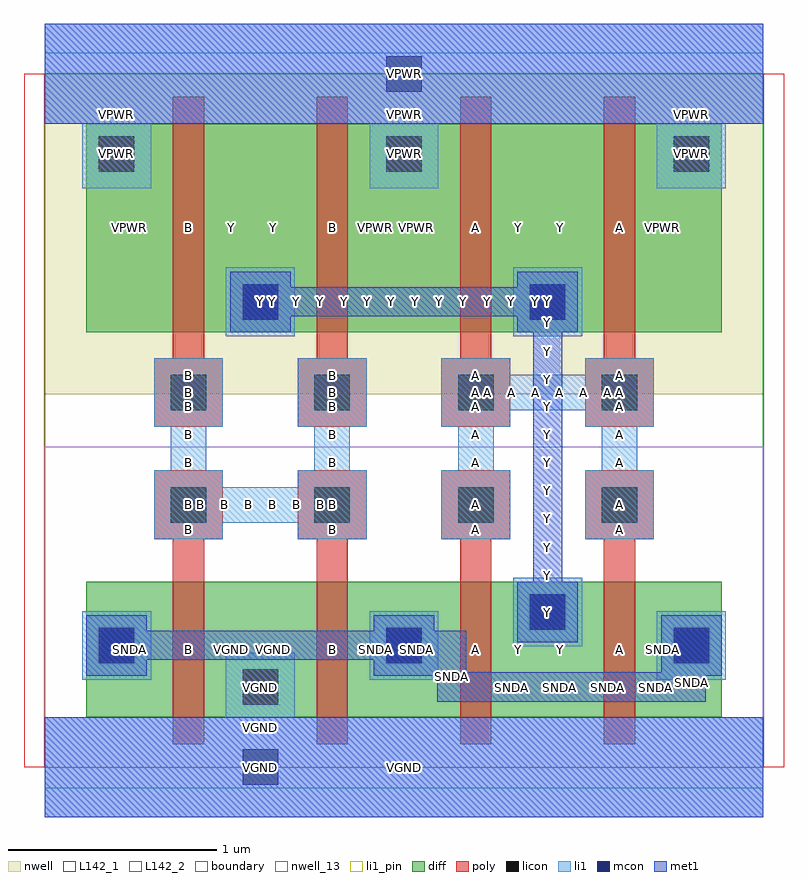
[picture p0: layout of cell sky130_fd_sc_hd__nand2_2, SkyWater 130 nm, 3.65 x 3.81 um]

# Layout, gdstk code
import gdstk
lib = gdstk.Library(unit=1e-6, precision=1e-09)
def R(c, l, rs):  # rectangles x0, y0, x1, y1
    for r in rs: c.add(gdstk.rectangle(r[:2], r[2:], *l))
def A(c, l, x, y, w, h, nx, ny, dx, dy):  # array of equal rectangles
    R(c, l, [(x+i*dx, y+j*dy, x+i*dx+w, y+j*dy+h) for i in range(nx) for j in range(ny)])
def P(c, l, *ps):  # polygons
    for p in ps: c.add(gdstk.Polygon(p, *l))
nwell_13 = (64, 13)
nwell = (64, 20)
diff = (65, 20)
poly = (66, 20)
licon = (66, 44)
li1_pin = (67, 16)
li1 = (67, 20)
mcon = (67, 44)
met1 = (68, 20)
L142_1 = (142, 1)
L142_2 = (142, 2)
boundary = (235, 4)

sky130_fd_sc_hd__nand2_2 = lib.new_cell('sky130_fd_sc_hd__nand2_2')
R(sky130_fd_sc_hd__nand2_2, nwell_13, [(0,0,3.45,1.54)])
R(sky130_fd_sc_hd__nand2_2, nwell, [(0,1.79,3.45,3.33)])
A(sky130_fd_sc_hd__nand2_2, diff, 0.615, 0.24, 0.69, 0.65, 3, 1, 0.69, 0)
A(sky130_fd_sc_hd__nand2_2, diff, 0.615, 2.09, 0.69, 1, 3, 1, 0.69, 0)
R(sky130_fd_sc_hd__nand2_2, diff, [(0.2,0.24,3.25,0.89), (0.2,0.24,0.615,0.89), (2.685,0.24,3.25,0.89), (0.2,2.09,3.25,3.09), (0.2,2.09,0.615,3.09), (2.685,2.09,3.25,3.09)])
P(sky130_fd_sc_hd__nand2_2, poly, [(0.615,0.11),(0.615,1.095),(0.525,1.095),(0.525,1.425),(0.855,1.425),(0.855,1.095),(0.765,1.095),(0.765,0.11)],
  [(1.305,0.11),(1.305,1.095),(1.215,1.095),(1.215,1.425),(1.545,1.425),(1.545,1.095),(1.455,1.095),(1.455,0.11)],
  [(0.525,1.635),(0.525,1.965),(0.615,1.965),(0.615,3.22),(0.765,3.22),(0.765,1.965),(0.855,1.965),(0.855,1.635)],
  [(1.215,1.635),(1.215,1.965),(1.305,1.965),(1.305,3.22),(1.455,3.22),(1.455,1.965),(1.545,1.965),(1.545,1.635)],
  [(1.995,0.11),(1.995,1.095),(1.905,1.095),(1.905,1.425),(2.235,1.425),(2.235,1.095),(2.145,1.095),(2.145,0.11)],
  [(2.685,0.11),(2.685,1.095),(2.595,1.095),(2.595,1.425),(2.925,1.425),(2.925,1.095),(2.835,1.095),(2.835,0.11)],
  [(1.905,1.635),(1.905,1.965),(1.995,1.965),(1.995,3.22),(2.145,3.22),(2.145,1.965),(2.235,1.965),(2.235,1.635)],
  [(2.595,1.635),(2.595,1.965),(2.685,1.965),(2.685,3.22),(2.835,3.22),(2.835,1.965),(2.925,1.965),(2.925,1.635)])
A(sky130_fd_sc_hd__nand2_2, licon, 0.26, 0.5, 0.17, 0.17, 3, 2, 1.38, 2.36)
A(sky130_fd_sc_hd__nand2_2, licon, 0.605, 1.175, 0.17, 0.17, 4, 2, 0.69, 0.54)
R(sky130_fd_sc_hd__nand2_2, licon, [(0.95,0.3,1.12,0.47), (2.33,0.66,2.5,0.83), (0.95,2.15,1.12,2.32), (2.33,2.15,2.5,2.32)])
R(sky130_fd_sc_hd__nand2_2, li1_pin, [(0,-0.24,3.45,0.24), (0.87,2.07,1.2,2.4), (0,3.09,3.45,3.57)])
P(sky130_fd_sc_hd__nand2_2, li1_pin, [(0.525,1.095),(0.525,1.425),(0.605,1.425),(0.605,1.635),(0.525,1.635),(0.525,1.965),(0.855,1.965),(0.855,1.635),(0.775,1.635),(0.775,1.425),(0.855,1.425),(0.855,1.345),(1.215,1.345),(1.215,1.425),(1.295,1.425),(1.295,1.635),(1.215,1.635),(1.215,1.965),(1.545,1.965),(1.545,1.635),(1.465,1.635),(1.465,1.425),(1.545,1.425),(1.545,1.095),(1.215,1.095),(1.215,1.175),(0.855,1.175),(0.855,1.095)],
  [(1.905,1.095),(1.905,1.425),(1.985,1.425),(1.985,1.635),(1.905,1.635),(1.905,1.965),(2.235,1.965),(2.235,1.885),(2.595,1.885),(2.595,1.965),(2.925,1.965),(2.925,1.635),(2.845,1.635),(2.845,1.425),(2.925,1.425),(2.925,1.095),(2.595,1.095),(2.595,1.425),(2.675,1.425),(2.675,1.635),(2.595,1.635),(2.595,1.715),(2.235,1.715),(2.235,1.635),(2.155,1.635),(2.155,1.425),(2.235,1.425),(2.235,1.095)])
A(sky130_fd_sc_hd__nand2_2, li1, 0.18, 0.42, 0.33, 0.33, 3, 1, 1.38, 0)
R(sky130_fd_sc_hd__nand2_2, li1, [(2.25,0.58,2.58,0.91), (0.87,2.07,1.2,2.4), (2.25,2.07,2.58,2.4)])
P(sky130_fd_sc_hd__nand2_2, li1, [(0.525,1.095),(0.525,1.425),(0.605,1.425),(0.605,1.635),(0.525,1.635),(0.525,1.965),(0.855,1.965),(0.855,1.635),(0.775,1.635),(0.775,1.425),(0.855,1.425),(0.855,1.345),(1.215,1.345),(1.215,1.425),(1.295,1.425),(1.295,1.635),(1.215,1.635),(1.215,1.965),(1.545,1.965),(1.545,1.635),(1.465,1.635),(1.465,1.425),(1.545,1.425),(1.545,1.095),(1.215,1.095),(1.215,1.175),(0.855,1.175),(0.855,1.095)],
  [(0.18,2.78),(0.18,3.09),(0,3.09),(0,3.57),(3.45,3.57),(3.45,3.09),(3.27,3.09),(3.27,2.78),(2.94,2.78),(2.94,3.09),(1.89,3.09),(1.89,2.78),(1.56,2.78),(1.56,3.09),(0.51,3.09),(0.51,2.78)],
  [(0,-0.24),(0,0.24),(0.87,0.24),(0.87,0.55),(1.2,0.55),(1.2,0.24),(3.45,0.24),(3.45,-0.24)],
  [(1.905,1.095),(1.905,1.425),(1.985,1.425),(1.985,1.635),(1.905,1.635),(1.905,1.965),(2.235,1.965),(2.235,1.885),(2.595,1.885),(2.595,1.965),(2.925,1.965),(2.925,1.635),(2.845,1.635),(2.845,1.425),(2.925,1.425),(2.925,1.095),(2.595,1.095),(2.595,1.425),(2.675,1.425),(2.675,1.635),(2.595,1.635),(2.595,1.715),(2.235,1.715),(2.235,1.635),(2.155,1.635),(2.155,1.425),(2.235,1.425),(2.235,1.095)])
A(sky130_fd_sc_hd__nand2_2, mcon, 0.26, 0.5, 0.17, 0.17, 3, 1, 1.38, 0)
R(sky130_fd_sc_hd__nand2_2, mcon, [(0.95,-0.085,1.12,0.085), (2.33,0.66,2.5,0.83), (0.95,2.15,1.12,2.32), (2.33,2.15,2.5,2.32), (1.64,3.245,1.81,3.415)])
R(sky130_fd_sc_hd__nand2_2, met1, [(0,-0.24,3.45,0.24), (1.87,0.44,1.885,0.515), (0,3.09,3.45,3.57)])
P(sky130_fd_sc_hd__nand2_2, met1, [(2.27,0.6),(2.27,0.89),(2.345,0.89),(2.345,2.09),(2.27,2.09),(2.27,2.165),(1.18,2.165),(1.18,2.09),(0.89,2.09),(0.89,2.38),(1.18,2.38),(1.18,2.305),(2.27,2.305),(2.27,2.38),(2.56,2.38),(2.56,2.09),(2.485,2.09),(2.485,0.89),(2.56,0.89),(2.56,0.6)],
  [(1.885,0.315),(1.885,0.515),(1.87,0.515),(1.87,0.44),(1.58,0.44),(1.58,0.515),(0.49,0.515),(0.49,0.44),(0.2,0.44),(0.2,0.73),(0.49,0.73),(0.49,0.655),(1.58,0.655),(1.58,0.73),(1.87,0.73),(1.87,0.655),(2.025,0.655),(2.025,0.455),(2.96,0.455),(2.96,0.73),(3.25,0.73),(3.25,0.44),(3.175,0.44),(3.175,0.315)])
R(sky130_fd_sc_hd__nand2_2, L142_1, [(0,-0.1,3.45,0), (0,3.33,3.45,3.43)])
R(sky130_fd_sc_hd__nand2_2, L142_2, [(-0.1,0,0,3.33), (3.45,0,3.55,3.33)])
R(sky130_fd_sc_hd__nand2_2, boundary, [(0,0,3.45,3.33)])
sky130_fd_sc_hd__nand2_2.add(gdstk.Label('VGND', (1.097,0.565), layer=65, texttype=20))
sky130_fd_sc_hd__nand2_2.add(gdstk.Label('SNDA', (1.587,0.565), layer=65, texttype=20))
sky130_fd_sc_hd__nand2_2.add(gdstk.Label('Y', (2.477,0.565), layer=65, texttype=20))
sky130_fd_sc_hd__nand2_2.add(gdstk.Label('SNDA', (2.967,0.565), layer=65, texttype=20))
sky130_fd_sc_hd__nand2_2.add(gdstk.Label('SNDA', (1.787,0.565), layer=65, texttype=20))
sky130_fd_sc_hd__nand2_2.add(gdstk.Label('Y', (2.277,0.565), layer=65, texttype=20))
sky130_fd_sc_hd__nand2_2.add(gdstk.Label('SNDA', (0.407,0.565), layer=65, texttype=20))
sky130_fd_sc_hd__nand2_2.add(gdstk.Label('VGND', (0.897,0.565), layer=65, texttype=20))
sky130_fd_sc_hd__nand2_2.add(gdstk.Label('VGND', (1.097,0.565), layer=65, texttype=20))
sky130_fd_sc_hd__nand2_2.add(gdstk.Label('SNDA', (1.587,0.565), layer=65, texttype=20))
sky130_fd_sc_hd__nand2_2.add(gdstk.Label('Y', (2.477,0.565), layer=65, texttype=20))
sky130_fd_sc_hd__nand2_2.add(gdstk.Label('SNDA', (2.967,0.565), layer=65, texttype=20))
sky130_fd_sc_hd__nand2_2.add(gdstk.Label('SNDA', (1.787,0.565), layer=65, texttype=20))
sky130_fd_sc_hd__nand2_2.add(gdstk.Label('Y', (2.277,0.565), layer=65, texttype=20))
sky130_fd_sc_hd__nand2_2.add(gdstk.Label('SNDA', (0.407,0.565), layer=65, texttype=20))
sky130_fd_sc_hd__nand2_2.add(gdstk.Label('VGND', (0.897,0.565), layer=65, texttype=20))
sky130_fd_sc_hd__nand2_2.add(gdstk.Label('VGND', (1.035,0.385), layer=65, texttype=20))
sky130_fd_sc_hd__nand2_2.add(gdstk.Label('SNDA', (1.725,0.585), layer=65, texttype=20))
sky130_fd_sc_hd__nand2_2.add(gdstk.Label('SNDA', (0.345,0.585), layer=65, texttype=20))
sky130_fd_sc_hd__nand2_2.add(gdstk.Label('SNDA', (3.105,0.585), layer=65, texttype=20))
sky130_fd_sc_hd__nand2_2.add(gdstk.Label('Y', (2.415,0.745), layer=65, texttype=20))
sky130_fd_sc_hd__nand2_2.add(gdstk.Label('Y', (1.097,2.59), layer=65, texttype=20))
sky130_fd_sc_hd__nand2_2.add(gdstk.Label('VPWR', (1.587,2.59), layer=65, texttype=20))
sky130_fd_sc_hd__nand2_2.add(gdstk.Label('VPWR', (0.407,2.59), layer=65, texttype=20))
sky130_fd_sc_hd__nand2_2.add(gdstk.Label('Y', (0.897,2.59), layer=65, texttype=20))
sky130_fd_sc_hd__nand2_2.add(gdstk.Label('VPWR', (1.787,2.59), layer=65, texttype=20))
sky130_fd_sc_hd__nand2_2.add(gdstk.Label('Y', (2.277,2.59), layer=65, texttype=20))
sky130_fd_sc_hd__nand2_2.add(gdstk.Label('Y', (2.477,2.59), layer=65, texttype=20))
sky130_fd_sc_hd__nand2_2.add(gdstk.Label('VPWR', (2.967,2.59), layer=65, texttype=20))
sky130_fd_sc_hd__nand2_2.add(gdstk.Label('Y', (1.097,2.59), layer=65, texttype=20))
sky130_fd_sc_hd__nand2_2.add(gdstk.Label('VPWR', (1.587,2.59), layer=65, texttype=20))
sky130_fd_sc_hd__nand2_2.add(gdstk.Label('VPWR', (0.407,2.59), layer=65, texttype=20))
sky130_fd_sc_hd__nand2_2.add(gdstk.Label('Y', (0.897,2.59), layer=65, texttype=20))
sky130_fd_sc_hd__nand2_2.add(gdstk.Label('VPWR', (1.787,2.59), layer=65, texttype=20))
sky130_fd_sc_hd__nand2_2.add(gdstk.Label('Y', (2.277,2.59), layer=65, texttype=20))
sky130_fd_sc_hd__nand2_2.add(gdstk.Label('Y', (2.477,2.59), layer=65, texttype=20))
sky130_fd_sc_hd__nand2_2.add(gdstk.Label('VPWR', (2.967,2.59), layer=65, texttype=20))
sky130_fd_sc_hd__nand2_2.add(gdstk.Label('Y', (2.415,2.235), layer=65, texttype=20))
sky130_fd_sc_hd__nand2_2.add(gdstk.Label('Y', (1.035,2.235), layer=65, texttype=20))
sky130_fd_sc_hd__nand2_2.add(gdstk.Label('VPWR', (1.725,2.945), layer=65, texttype=20))
sky130_fd_sc_hd__nand2_2.add(gdstk.Label('VPWR', (3.105,2.945), layer=65, texttype=20))
sky130_fd_sc_hd__nand2_2.add(gdstk.Label('VPWR', (0.345,2.945), layer=65, texttype=20))
sky130_fd_sc_hd__nand2_2.add(gdstk.Label('B', (1.38,2.59), layer=66, texttype=20))
sky130_fd_sc_hd__nand2_2.add(gdstk.Label('B', (1.38,0.565), layer=66, texttype=20))
sky130_fd_sc_hd__nand2_2.add(gdstk.Label('A', (2.76,0.565), layer=66, texttype=20))
sky130_fd_sc_hd__nand2_2.add(gdstk.Label('B', (0.69,2.59), layer=66, texttype=20))
sky130_fd_sc_hd__nand2_2.add(gdstk.Label('A', (2.07,0.565), layer=66, texttype=20))
sky130_fd_sc_hd__nand2_2.add(gdstk.Label('A', (2.07,2.59), layer=66, texttype=20))
sky130_fd_sc_hd__nand2_2.add(gdstk.Label('B', (0.69,0.565), layer=66, texttype=20))
sky130_fd_sc_hd__nand2_2.add(gdstk.Label('A', (2.76,2.59), layer=66, texttype=20))
sky130_fd_sc_hd__nand2_2.add(gdstk.Label('B', (1.38,2.59), layer=66, texttype=20))
sky130_fd_sc_hd__nand2_2.add(gdstk.Label('B', (1.38,0.565), layer=66, texttype=20))
sky130_fd_sc_hd__nand2_2.add(gdstk.Label('A', (2.76,0.565), layer=66, texttype=20))
sky130_fd_sc_hd__nand2_2.add(gdstk.Label('B', (0.69,2.59), layer=66, texttype=20))
sky130_fd_sc_hd__nand2_2.add(gdstk.Label('A', (2.07,0.565), layer=66, texttype=20))
sky130_fd_sc_hd__nand2_2.add(gdstk.Label('A', (2.07,2.59), layer=66, texttype=20))
sky130_fd_sc_hd__nand2_2.add(gdstk.Label('B', (0.69,0.565), layer=66, texttype=20))
sky130_fd_sc_hd__nand2_2.add(gdstk.Label('A', (2.76,2.59), layer=66, texttype=20))
sky130_fd_sc_hd__nand2_2.add(gdstk.Label('B', (1.38,1.88), layer=66, texttype=20))
sky130_fd_sc_hd__nand2_2.add(gdstk.Label('B', (1.38,1.14), layer=66, texttype=20))
sky130_fd_sc_hd__nand2_2.add(gdstk.Label('B', (0.69,1.14), layer=66, texttype=20))
sky130_fd_sc_hd__nand2_2.add(gdstk.Label('B', (0.69,1.88), layer=66, texttype=20))
sky130_fd_sc_hd__nand2_2.add(gdstk.Label('A', (2.76,1.14), layer=66, texttype=20))
sky130_fd_sc_hd__nand2_2.add(gdstk.Label('A', (2.76,1.88), layer=66, texttype=20))
sky130_fd_sc_hd__nand2_2.add(gdstk.Label('A', (2.07,1.88), layer=66, texttype=20))
sky130_fd_sc_hd__nand2_2.add(gdstk.Label('A', (2.07,1.14), layer=66, texttype=20))
sky130_fd_sc_hd__nand2_2.add(gdstk.Label('B', (1.38,1.8), layer=66, texttype=20))
sky130_fd_sc_hd__nand2_2.add(gdstk.Label('B', (1.38,1.26), layer=66, texttype=20))
sky130_fd_sc_hd__nand2_2.add(gdstk.Label('B', (0.69,1.26), layer=66, texttype=20))
sky130_fd_sc_hd__nand2_2.add(gdstk.Label('B', (0.69,1.8), layer=66, texttype=20))
sky130_fd_sc_hd__nand2_2.add(gdstk.Label('A', (2.76,1.26), layer=66, texttype=20))
sky130_fd_sc_hd__nand2_2.add(gdstk.Label('A', (2.76,1.8), layer=66, texttype=20))
sky130_fd_sc_hd__nand2_2.add(gdstk.Label('A', (2.07,1.8), layer=66, texttype=20))
sky130_fd_sc_hd__nand2_2.add(gdstk.Label('A', (2.07,1.26), layer=66, texttype=20))
sky130_fd_sc_hd__nand2_2.add(gdstk.Label('Y', (2.415,2.235), layer=66, texttype=44))
sky130_fd_sc_hd__nand2_2.add(gdstk.Label('Y', (1.035,2.235), layer=66, texttype=44))
sky130_fd_sc_hd__nand2_2.add(gdstk.Label('VPWR', (1.725,2.945), layer=66, texttype=44))
sky130_fd_sc_hd__nand2_2.add(gdstk.Label('VPWR', (3.105,2.945), layer=66, texttype=44))
sky130_fd_sc_hd__nand2_2.add(gdstk.Label('VPWR', (0.345,2.945), layer=66, texttype=44))
sky130_fd_sc_hd__nand2_2.add(gdstk.Label('VGND', (1.035,0.385), layer=66, texttype=44))
sky130_fd_sc_hd__nand2_2.add(gdstk.Label('SNDA', (1.725,0.585), layer=66, texttype=44))
sky130_fd_sc_hd__nand2_2.add(gdstk.Label('SNDA', (0.345,0.585), layer=66, texttype=44))
sky130_fd_sc_hd__nand2_2.add(gdstk.Label('SNDA', (3.105,0.585), layer=66, texttype=44))
sky130_fd_sc_hd__nand2_2.add(gdstk.Label('Y', (2.415,0.745), layer=66, texttype=44))
sky130_fd_sc_hd__nand2_2.add(gdstk.Label('B', (1.38,1.8), layer=66, texttype=44))
sky130_fd_sc_hd__nand2_2.add(gdstk.Label('B', (1.38,1.26), layer=66, texttype=44))
sky130_fd_sc_hd__nand2_2.add(gdstk.Label('B', (0.69,1.26), layer=66, texttype=44))
sky130_fd_sc_hd__nand2_2.add(gdstk.Label('B', (0.69,1.8), layer=66, texttype=44))
sky130_fd_sc_hd__nand2_2.add(gdstk.Label('A', (2.76,1.26), layer=66, texttype=44))
sky130_fd_sc_hd__nand2_2.add(gdstk.Label('A', (2.76,1.8), layer=66, texttype=44))
sky130_fd_sc_hd__nand2_2.add(gdstk.Label('A', (2.07,1.8), layer=66, texttype=44))
sky130_fd_sc_hd__nand2_2.add(gdstk.Label('A', (2.07,1.26), layer=66, texttype=44))
sky130_fd_sc_hd__nand2_2.add(gdstk.Label('VPWR', (1.725,3.33), layer=67, texttype=20))
sky130_fd_sc_hd__nand2_2.add(gdstk.Label('VGND', (1.725,0), layer=67, texttype=20))
sky130_fd_sc_hd__nand2_2.add(gdstk.Label('VPWR', (1.725,3.33), layer=67, texttype=20))
sky130_fd_sc_hd__nand2_2.add(gdstk.Label('VGND', (1.725,0), layer=67, texttype=20))
sky130_fd_sc_hd__nand2_2.add(gdstk.Label('VGND', (1.035,0.192), layer=67, texttype=20))
sky130_fd_sc_hd__nand2_2.add(gdstk.Label('VPWR', (1.725,3.137), layer=67, texttype=20))
sky130_fd_sc_hd__nand2_2.add(gdstk.Label('VPWR', (3.105,3.137), layer=67, texttype=20))
sky130_fd_sc_hd__nand2_2.add(gdstk.Label('VPWR', (0.345,3.137), layer=67, texttype=20))
sky130_fd_sc_hd__nand2_2.add(gdstk.Label('B', (1.38,1.732), layer=67, texttype=20))
sky130_fd_sc_hd__nand2_2.add(gdstk.Label('B', (1.38,1.597), layer=67, texttype=20))
sky130_fd_sc_hd__nand2_2.add(gdstk.Label('B', (1.38,1.462), layer=67, texttype=20))
sky130_fd_sc_hd__nand2_2.add(gdstk.Label('B', (1.38,1.327), layer=67, texttype=20))
sky130_fd_sc_hd__nand2_2.add(gdstk.Label('B', (1.322,1.26), layer=67, texttype=20))
sky130_fd_sc_hd__nand2_2.add(gdstk.Label('B', (1.207,1.26), layer=67, texttype=20))
sky130_fd_sc_hd__nand2_2.add(gdstk.Label('B', (1.092,1.26), layer=67, texttype=20))
sky130_fd_sc_hd__nand2_2.add(gdstk.Label('B', (0.977,1.26), layer=67, texttype=20))
sky130_fd_sc_hd__nand2_2.add(gdstk.Label('B', (0.862,1.26), layer=67, texttype=20))
sky130_fd_sc_hd__nand2_2.add(gdstk.Label('B', (0.747,1.26), layer=67, texttype=20))
sky130_fd_sc_hd__nand2_2.add(gdstk.Label('B', (0.69,1.327), layer=67, texttype=20))
sky130_fd_sc_hd__nand2_2.add(gdstk.Label('B', (0.69,1.462), layer=67, texttype=20))
sky130_fd_sc_hd__nand2_2.add(gdstk.Label('B', (0.69,1.597), layer=67, texttype=20))
sky130_fd_sc_hd__nand2_2.add(gdstk.Label('B', (0.69,1.732), layer=67, texttype=20))
sky130_fd_sc_hd__nand2_2.add(gdstk.Label('A', (2.76,1.327), layer=67, texttype=20))
sky130_fd_sc_hd__nand2_2.add(gdstk.Label('A', (2.76,1.462), layer=67, texttype=20))
sky130_fd_sc_hd__nand2_2.add(gdstk.Label('A', (2.76,1.597), layer=67, texttype=20))
sky130_fd_sc_hd__nand2_2.add(gdstk.Label('A', (2.76,1.732), layer=67, texttype=20))
sky130_fd_sc_hd__nand2_2.add(gdstk.Label('A', (2.702,1.8), layer=67, texttype=20))
sky130_fd_sc_hd__nand2_2.add(gdstk.Label('A', (2.587,1.8), layer=67, texttype=20))
sky130_fd_sc_hd__nand2_2.add(gdstk.Label('A', (2.472,1.8), layer=67, texttype=20))
sky130_fd_sc_hd__nand2_2.add(gdstk.Label('A', (2.357,1.8), layer=67, texttype=20))
sky130_fd_sc_hd__nand2_2.add(gdstk.Label('A', (2.242,1.8), layer=67, texttype=20))
sky130_fd_sc_hd__nand2_2.add(gdstk.Label('A', (2.127,1.8), layer=67, texttype=20))
sky130_fd_sc_hd__nand2_2.add(gdstk.Label('A', (2.07,1.732), layer=67, texttype=20))
sky130_fd_sc_hd__nand2_2.add(gdstk.Label('A', (2.07,1.597), layer=67, texttype=20))
sky130_fd_sc_hd__nand2_2.add(gdstk.Label('A', (2.07,1.462), layer=67, texttype=20))
sky130_fd_sc_hd__nand2_2.add(gdstk.Label('A', (2.07,1.327), layer=67, texttype=20))
sky130_fd_sc_hd__nand2_2.add(gdstk.Label('VGND', (1.035,0.385), layer=67, texttype=20))
sky130_fd_sc_hd__nand2_2.add(gdstk.Label('VGND', (1.035,0), layer=67, texttype=20))
sky130_fd_sc_hd__nand2_2.add(gdstk.Label('SNDA', (1.725,0.585), layer=67, texttype=20))
sky130_fd_sc_hd__nand2_2.add(gdstk.Label('SNDA', (1.725,0.585), layer=67, texttype=20))
sky130_fd_sc_hd__nand2_2.add(gdstk.Label('SNDA', (0.345,0.585), layer=67, texttype=20))
sky130_fd_sc_hd__nand2_2.add(gdstk.Label('SNDA', (0.345,0.585), layer=67, texttype=20))
sky130_fd_sc_hd__nand2_2.add(gdstk.Label('SNDA', (3.105,0.585), layer=67, texttype=20))
sky130_fd_sc_hd__nand2_2.add(gdstk.Label('SNDA', (3.105,0.585), layer=67, texttype=20))
sky130_fd_sc_hd__nand2_2.add(gdstk.Label('Y', (2.415,0.745), layer=67, texttype=20))
sky130_fd_sc_hd__nand2_2.add(gdstk.Label('Y', (2.415,0.745), layer=67, texttype=20))
sky130_fd_sc_hd__nand2_2.add(gdstk.Label('Y', (2.415,2.235), layer=67, texttype=20))
sky130_fd_sc_hd__nand2_2.add(gdstk.Label('Y', (2.415,2.235), layer=67, texttype=20))
sky130_fd_sc_hd__nand2_2.add(gdstk.Label('Y', (1.035,2.235), layer=67, texttype=20))
sky130_fd_sc_hd__nand2_2.add(gdstk.Label('Y', (1.035,2.235), layer=67, texttype=20))
sky130_fd_sc_hd__nand2_2.add(gdstk.Label('VPWR', (1.725,2.945), layer=67, texttype=20))
sky130_fd_sc_hd__nand2_2.add(gdstk.Label('VPWR', (1.725,3.33), layer=67, texttype=20))
sky130_fd_sc_hd__nand2_2.add(gdstk.Label('VPWR', (3.105,2.945), layer=67, texttype=20))
sky130_fd_sc_hd__nand2_2.add(gdstk.Label('VPWR', (0.345,2.945), layer=67, texttype=20))
sky130_fd_sc_hd__nand2_2.add(gdstk.Label('B', (1.38,1.8), layer=67, texttype=20))
sky130_fd_sc_hd__nand2_2.add(gdstk.Label('B', (1.38,1.26), layer=67, texttype=20))
sky130_fd_sc_hd__nand2_2.add(gdstk.Label('B', (0.69,1.26), layer=67, texttype=20))
sky130_fd_sc_hd__nand2_2.add(gdstk.Label('B', (0.69,1.8), layer=67, texttype=20))
sky130_fd_sc_hd__nand2_2.add(gdstk.Label('A', (2.76,1.26), layer=67, texttype=20))
sky130_fd_sc_hd__nand2_2.add(gdstk.Label('A', (2.76,1.8), layer=67, texttype=20))
sky130_fd_sc_hd__nand2_2.add(gdstk.Label('A', (2.07,1.8), layer=67, texttype=20))
sky130_fd_sc_hd__nand2_2.add(gdstk.Label('A', (2.07,1.26), layer=67, texttype=20))
sky130_fd_sc_hd__nand2_2.add(gdstk.Label('Y', (1.035,2.235), layer=67, texttype=5))
sky130_fd_sc_hd__nand2_2.add(gdstk.Label('B', (0.69,1.26), layer=67, texttype=5))
sky130_fd_sc_hd__nand2_2.add(gdstk.Label('A', (2.07,1.26), layer=67, texttype=5))
sky130_fd_sc_hd__nand2_2.add(gdstk.Label('VGND', (1.725,0), layer=67, texttype=5))
sky130_fd_sc_hd__nand2_2.add(gdstk.Label('VPWR', (1.725,3.33), layer=67, texttype=5))
sky130_fd_sc_hd__nand2_2.add(gdstk.Label('VGND', (1.035,0), layer=67, texttype=44))
sky130_fd_sc_hd__nand2_2.add(gdstk.Label('SNDA', (1.725,0.585), layer=67, texttype=44))
sky130_fd_sc_hd__nand2_2.add(gdstk.Label('SNDA', (0.345,0.585), layer=67, texttype=44))
sky130_fd_sc_hd__nand2_2.add(gdstk.Label('SNDA', (3.105,0.585), layer=67, texttype=44))
sky130_fd_sc_hd__nand2_2.add(gdstk.Label('Y', (2.415,0.745), layer=67, texttype=44))
sky130_fd_sc_hd__nand2_2.add(gdstk.Label('Y', (2.415,2.235), layer=67, texttype=44))
sky130_fd_sc_hd__nand2_2.add(gdstk.Label('Y', (1.035,2.235), layer=67, texttype=44))
sky130_fd_sc_hd__nand2_2.add(gdstk.Label('VPWR', (1.725,3.33), layer=67, texttype=44))
sky130_fd_sc_hd__nand2_2.add(gdstk.Label('VPWR', (1.725,3.33), layer=68, texttype=20))
sky130_fd_sc_hd__nand2_2.add(gdstk.Label('VGND', (1.725,0), layer=68, texttype=20))
sky130_fd_sc_hd__nand2_2.add(gdstk.Label('VPWR', (1.725,3.33), layer=68, texttype=20))
sky130_fd_sc_hd__nand2_2.add(gdstk.Label('VGND', (1.725,0), layer=68, texttype=20))
sky130_fd_sc_hd__nand2_2.add(gdstk.Label('SNDA', (1.667,0.585), layer=68, texttype=20))
sky130_fd_sc_hd__nand2_2.add(gdstk.Label('SNDA', (1.782,0.585), layer=68, texttype=20))
sky130_fd_sc_hd__nand2_2.add(gdstk.Label('SNDA', (1.552,0.585), layer=68, texttype=20))
sky130_fd_sc_hd__nand2_2.add(gdstk.Label('SNDA', (1.437,0.585), layer=68, texttype=20))
sky130_fd_sc_hd__nand2_2.add(gdstk.Label('SNDA', (1.322,0.585), layer=68, texttype=20))
sky130_fd_sc_hd__nand2_2.add(gdstk.Label('SNDA', (1.207,0.585), layer=68, texttype=20))
sky130_fd_sc_hd__nand2_2.add(gdstk.Label('SNDA', (1.092,0.585), layer=68, texttype=20))
sky130_fd_sc_hd__nand2_2.add(gdstk.Label('SNDA', (0.977,0.585), layer=68, texttype=20))
sky130_fd_sc_hd__nand2_2.add(gdstk.Label('SNDA', (0.862,0.585), layer=68, texttype=20))
sky130_fd_sc_hd__nand2_2.add(gdstk.Label('SNDA', (0.747,0.585), layer=68, texttype=20))
sky130_fd_sc_hd__nand2_2.add(gdstk.Label('SNDA', (0.632,0.585), layer=68, texttype=20))
sky130_fd_sc_hd__nand2_2.add(gdstk.Label('SNDA', (0.517,0.585), layer=68, texttype=20))
sky130_fd_sc_hd__nand2_2.add(gdstk.Label('SNDA', (0.402,0.585), layer=68, texttype=20))
sky130_fd_sc_hd__nand2_2.add(gdstk.Label('SNDA', (1.897,0.585), layer=68, texttype=20))
sky130_fd_sc_hd__nand2_2.add(gdstk.Label('SNDA', (1.955,0.517), layer=68, texttype=20))
sky130_fd_sc_hd__nand2_2.add(gdstk.Label('SNDA', (1.955,0.437), layer=68, texttype=20))
sky130_fd_sc_hd__nand2_2.add(gdstk.Label('SNDA', (1.955,0.405), layer=68, texttype=20))
sky130_fd_sc_hd__nand2_2.add(gdstk.Label('SNDA', (2.012,0.385), layer=68, texttype=20))
sky130_fd_sc_hd__nand2_2.add(gdstk.Label('SNDA', (2.127,0.385), layer=68, texttype=20))
sky130_fd_sc_hd__nand2_2.add(gdstk.Label('SNDA', (2.242,0.385), layer=68, texttype=20))
sky130_fd_sc_hd__nand2_2.add(gdstk.Label('SNDA', (2.357,0.385), layer=68, texttype=20))
sky130_fd_sc_hd__nand2_2.add(gdstk.Label('SNDA', (2.472,0.385), layer=68, texttype=20))
sky130_fd_sc_hd__nand2_2.add(gdstk.Label('SNDA', (2.587,0.385), layer=68, texttype=20))
sky130_fd_sc_hd__nand2_2.add(gdstk.Label('SNDA', (2.702,0.385), layer=68, texttype=20))
sky130_fd_sc_hd__nand2_2.add(gdstk.Label('SNDA', (2.817,0.385), layer=68, texttype=20))
sky130_fd_sc_hd__nand2_2.add(gdstk.Label('SNDA', (2.932,0.385), layer=68, texttype=20))
sky130_fd_sc_hd__nand2_2.add(gdstk.Label('SNDA', (3.047,0.385), layer=68, texttype=20))
sky130_fd_sc_hd__nand2_2.add(gdstk.Label('SNDA', (3.105,0.405), layer=68, texttype=20))
sky130_fd_sc_hd__nand2_2.add(gdstk.Label('SNDA', (3.105,0.437), layer=68, texttype=20))
sky130_fd_sc_hd__nand2_2.add(gdstk.Label('SNDA', (3.105,0.517), layer=68, texttype=20))
sky130_fd_sc_hd__nand2_2.add(gdstk.Label('Y', (2.415,0.8), layer=68, texttype=20))
sky130_fd_sc_hd__nand2_2.add(gdstk.Label('Y', (2.415,0.922), layer=68, texttype=20))
sky130_fd_sc_hd__nand2_2.add(gdstk.Label('Y', (2.415,1.057), layer=68, texttype=20))
sky130_fd_sc_hd__nand2_2.add(gdstk.Label('Y', (2.415,1.192), layer=68, texttype=20))
sky130_fd_sc_hd__nand2_2.add(gdstk.Label('Y', (2.415,1.327), layer=68, texttype=20))
sky130_fd_sc_hd__nand2_2.add(gdstk.Label('Y', (2.415,1.462), layer=68, texttype=20))
sky130_fd_sc_hd__nand2_2.add(gdstk.Label('Y', (2.415,1.597), layer=68, texttype=20))
sky130_fd_sc_hd__nand2_2.add(gdstk.Label('Y', (2.415,1.732), layer=68, texttype=20))
sky130_fd_sc_hd__nand2_2.add(gdstk.Label('Y', (2.415,1.862), layer=68, texttype=20))
sky130_fd_sc_hd__nand2_2.add(gdstk.Label('Y', (2.415,1.997), layer=68, texttype=20))
sky130_fd_sc_hd__nand2_2.add(gdstk.Label('Y', (2.415,2.137), layer=68, texttype=20))
sky130_fd_sc_hd__nand2_2.add(gdstk.Label('Y', (2.415,2.22), layer=68, texttype=20))
sky130_fd_sc_hd__nand2_2.add(gdstk.Label('Y', (2.357,2.235), layer=68, texttype=20))
sky130_fd_sc_hd__nand2_2.add(gdstk.Label('Y', (2.242,2.235), layer=68, texttype=20))
sky130_fd_sc_hd__nand2_2.add(gdstk.Label('Y', (2.127,2.235), layer=68, texttype=20))
sky130_fd_sc_hd__nand2_2.add(gdstk.Label('Y', (2.012,2.235), layer=68, texttype=20))
sky130_fd_sc_hd__nand2_2.add(gdstk.Label('Y', (1.897,2.235), layer=68, texttype=20))
sky130_fd_sc_hd__nand2_2.add(gdstk.Label('Y', (1.782,2.235), layer=68, texttype=20))
sky130_fd_sc_hd__nand2_2.add(gdstk.Label('Y', (1.667,2.235), layer=68, texttype=20))
sky130_fd_sc_hd__nand2_2.add(gdstk.Label('Y', (1.552,2.235), layer=68, texttype=20))
sky130_fd_sc_hd__nand2_2.add(gdstk.Label('Y', (1.437,2.235), layer=68, texttype=20))
sky130_fd_sc_hd__nand2_2.add(gdstk.Label('Y', (1.322,2.235), layer=68, texttype=20))
sky130_fd_sc_hd__nand2_2.add(gdstk.Label('Y', (1.207,2.235), layer=68, texttype=20))
sky130_fd_sc_hd__nand2_2.add(gdstk.Label('Y', (1.092,2.235), layer=68, texttype=20))
sky130_fd_sc_hd__nand2_2.add(gdstk.Label('VGND', (1.035,0), layer=68, texttype=20))
sky130_fd_sc_hd__nand2_2.add(gdstk.Label('SNDA', (1.725,0.585), layer=68, texttype=20))
sky130_fd_sc_hd__nand2_2.add(gdstk.Label('SNDA', (0.345,0.585), layer=68, texttype=20))
sky130_fd_sc_hd__nand2_2.add(gdstk.Label('SNDA', (3.105,0.585), layer=68, texttype=20))
sky130_fd_sc_hd__nand2_2.add(gdstk.Label('Y', (2.415,0.745), layer=68, texttype=20))
sky130_fd_sc_hd__nand2_2.add(gdstk.Label('Y', (2.415,2.235), layer=68, texttype=20))
sky130_fd_sc_hd__nand2_2.add(gdstk.Label('Y', (1.035,2.235), layer=68, texttype=20))
sky130_fd_sc_hd__nand2_2.add(gdstk.Label('VPWR', (1.725,3.33), layer=68, texttype=20))
sky130_fd_sc_hd__nand2_2.add(gdstk.Label('VGND', (1.725,0), layer=68, texttype=5))
sky130_fd_sc_hd__nand2_2.add(gdstk.Label('VPWR', (1.725,3.33), layer=68, texttype=5))

lib.write_gds('sky130_fd_sc_hd__nand2_2.gds')
